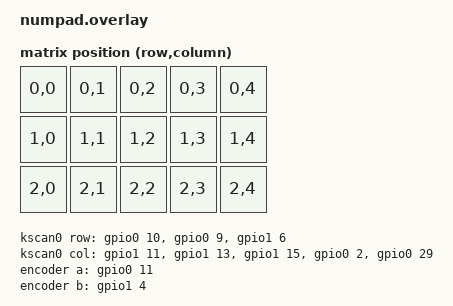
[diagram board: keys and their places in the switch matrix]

#include <dt-bindings/zmk/matrix_transform.h>

/ {
    chosen {
        zmk,kscan = &kscan0;
        zmk,matrix_transform = &default_transform;
    };

    default_transform: matrix_transform {
        compatible = "zmk,matrix-transform";
        rows = <3>;
        columns = <5>;
        map = <
            RC(0,0) RC(0,1) RC(0,2) RC(0,3) RC(0,4)
            RC(1,0) RC(1,1) RC(1,2) RC(1,3) RC(1,4)
            RC(2,0) RC(2,1) RC(2,2) RC(2,3) RC(2,4)
        >;
    };

    kscan0: kscan {
        compatible = "zmk,kscan-gpio-matrix";
        label = "KSCAN";
        diode-direction = "col2row";

        col-gpios
            = <&gpio1 11 GPIO_ACTIVE_HIGH>
            , <&gpio1 13 GPIO_ACTIVE_HIGH>
            , <&gpio1 15 GPIO_ACTIVE_HIGH>
            , <&gpio0  2 GPIO_ACTIVE_HIGH>
            , <&gpio0 29 GPIO_ACTIVE_HIGH>;

        row-gpios
            = <&gpio0 10 (GPIO_ACTIVE_HIGH | GPIO_PULL_DOWN)>
            , <&gpio0  9 (GPIO_ACTIVE_HIGH | GPIO_PULL_DOWN)>
            , <&gpio1  6 (GPIO_ACTIVE_HIGH | GPIO_PULL_DOWN)>;
    };

    encoder: encoder {
        compatible = "alps,ec11";
        a-gpios = <&gpio0 11 (GPIO_ACTIVE_HIGH | GPIO_PULL_UP)>;
        b-gpios = <&gpio1  4 (GPIO_ACTIVE_HIGH | GPIO_PULL_UP)>;
        resolution = <4>;
    };

    sensors {
        compatible = "zmk,keymap-sensors";
        sensors = <&encoder>;
    };
};
